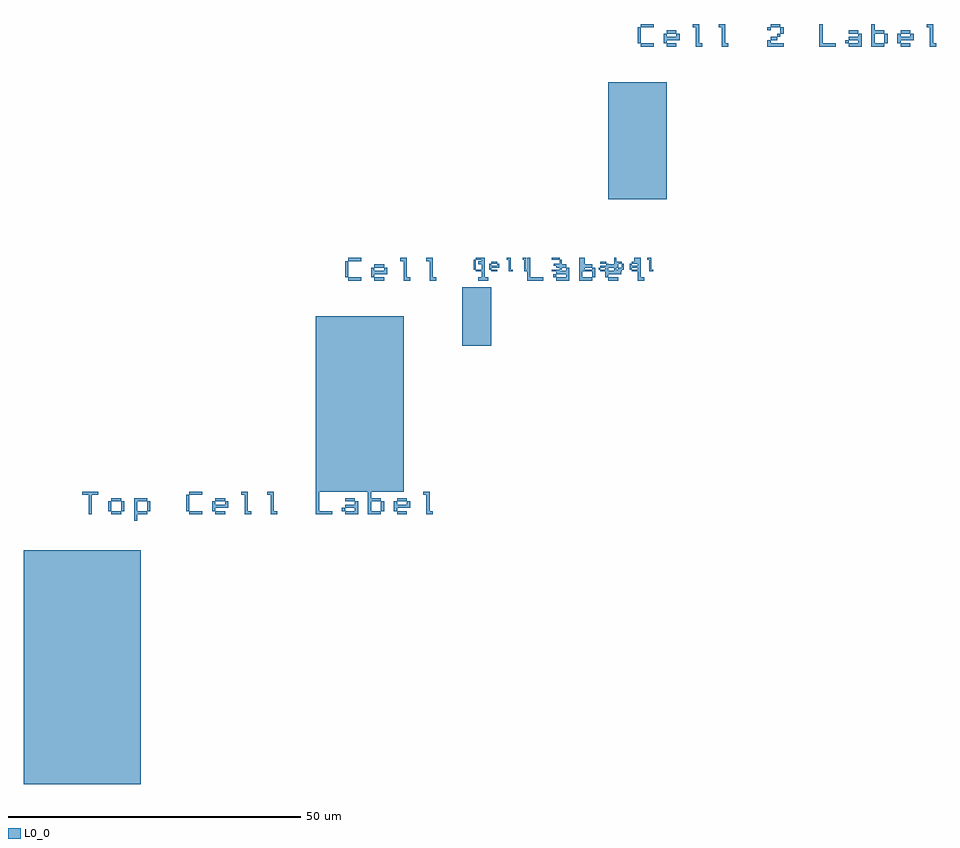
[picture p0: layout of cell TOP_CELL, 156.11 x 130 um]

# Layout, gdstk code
import gdstk
lib = gdstk.Library(unit=1e-6, precision=1e-09)
def R(c, l, rs):  # rectangles x0, y0, x1, y1
    for r in rs: c.add(gdstk.rectangle(r[:2], r[2:], *l))
def P(c, l, *ps):  # polygons
    for p in ps: c.add(gdstk.Polygon(p, *l))
L0_0 = (0, 0)

cell_3 = lib.new_cell('CELL_3')
R(cell_3, L0_0, [(0,0,5,10), (23.333,13,23.667,13.333)])
P(cell_3, L0_0, [(2,13),(2.333,13),(2.333,13.333),(2.333,13.667),(2.333,14),(2.333,14.333),(2.333,14.667),(2,14.667),(2,14.333),(2,14),(2,13.667),(2,13.333)],
  [(2.333,12.667),(2.667,12.667),(3,12.667),(3.333,12.667),(3.667,12.667),(3.667,13),(3.333,13),(3,13),(2.667,13),(2.333,13)],
  [(2.333,14.667),(2.667,14.667),(3,14.667),(3.333,14.667),(3.667,14.667),(3.667,15),(3.333,15),(3,15),(2.667,15),(2.333,15)],
  [(4.667,13),(5,13),(5,13.333),(5.333,13.333),(5.667,13.333),(6,13.333),(6.333,13.333),(6.333,13.667),(6.333,14),(6,14),(6,13.667),(5.667,13.667),(5.333,13.667),(5,13.667),(5,14),(4.667,14),(4.667,13.667),(4.667,13.333)],
  [(5,12.667),(5.333,12.667),(5.667,12.667),(6,12.667),(6,13),(5.667,13),(5.333,13),(5,13)],
  [(5,14),(5.333,14),(5.667,14),(6,14),(6,14.333),(5.667,14.333),(5.333,14.333),(5,14.333)],
  [(7.667,14.667),(8,14.667),(8,14.333),(8,14),(8,13.667),(8,13.333),(8,13),(8,12.667),(8.333,12.667),(8.667,12.667),(8.667,13),(8.333,13),(8.333,13.333),(8.333,13.667),(8.333,14),(8.333,14.333),(8.333,14.667),(8.333,15),(8,15),(7.667,15)],
  [(10.333,14.667),(10.667,14.667),(10.667,14.333),(10.667,14),(10.667,13.667),(10.667,13.333),(10.667,13),(10.667,12.667),(11,12.667),(11.333,12.667),(11.333,13),(11,13),(11,13.333),(11,13.667),(11,14),(11,14.333),(11,14.667),(11,15),(10.667,15),(10.333,15)],
  [(15.333,12.667),(15.667,12.667),(16,12.667),(16.333,12.667),(16.667,12.667),(16.667,13),(16.333,13),(16,13),(15.667,13),(15.333,13)],
  [(15.333,14.667),(15.667,14.667),(16,14.667),(16.333,14.667),(16.667,14.667),(16.667,15),(16.333,15),(16,15),(15.667,15),(15.333,15)],
  [(15.667,13.667),(16,13.667),(16.333,13.667),(16.667,13.667),(16.667,14),(16.333,14),(16,14),(15.667,14)],
  [(16.667,13),(17,13),(17,13.333),(17,13.667),(16.667,13.667),(16.667,13.333)],
  [(16.667,14),(17,14),(17,14.333),(17,14.667),(16.667,14.667),(16.667,14.333)],
  [(20.667,12.667),(21,12.667),(21.333,12.667),(21.667,12.667),(22,12.667),(22.333,12.667),(22.333,13),(22,13),(21.667,13),(21.333,13),(21,13),(21,13.333),(21,13.667),(21,14),(21,14.333),(21,14.667),(21,15),(20.667,15),(20.667,14.667),(20.667,14.333),(20.667,14),(20.667,13.667),(20.667,13.333),(20.667,13)],
  [(23.667,12.667),(24,12.667),(24.333,12.667),(24.667,12.667),(25,12.667),(25,13),(25,13.333),(25,13.667),(25,14),(24.667,14),(24.667,13.667),(24.333,13.667),(24,13.667),(23.667,13.667),(23.667,13.333),(24,13.333),(24.333,13.333),(24.667,13.333),(24.667,13),(24.333,13),(24,13),(23.667,13)],
  [(23.667,14),(24,14),(24.333,14),(24.667,14),(24.667,14.333),(24.333,14.333),(24,14.333),(23.667,14.333)],
  [(26,12.667),(26.333,12.667),(26.667,12.667),(27,12.667),(27.333,12.667),(27.333,13),(27,13),(26.667,13),(26.333,13),(26.333,13.333),(26.333,13.667),(26.333,14),(26.667,14),(27,14),(27.333,14),(27.333,14.333),(27,14.333),(26.667,14.333),(26.333,14.333),(26.333,14.667),(26.333,15),(26,15),(26,14.667),(26,14.333),(26,14),(26,13.667),(26,13.333),(26,13)],
  [(27.333,13),(27.667,13),(27.667,13.333),(27.667,13.667),(27.667,14),(27.333,14),(27.333,13.667),(27.333,13.333)],
  [(28.667,13),(29,13),(29,13.333),(29.333,13.333),(29.667,13.333),(30,13.333),(30.333,13.333),(30.333,13.667),(30.333,14),(30,14),(30,13.667),(29.667,13.667),(29.333,13.667),(29,13.667),(29,14),(28.667,14),(28.667,13.667),(28.667,13.333)],
  [(29,12.667),(29.333,12.667),(29.667,12.667),(30,12.667),(30,13),(29.667,13),(29.333,13),(29,13)],
  [(29,14),(29.333,14),(29.667,14),(30,14),(30,14.333),(29.667,14.333),(29.333,14.333),(29,14.333)],
  [(31.667,14.667),(32,14.667),(32,14.333),(32,14),(32,13.667),(32,13.333),(32,13),(32,12.667),(32.333,12.667),(32.667,12.667),(32.667,13),(32.333,13),(32.333,13.333),(32.333,13.667),(32.333,14),(32.333,14.333),(32.333,14.667),(32.333,15),(32,15),(31.667,15)])

cell_1 = lib.new_cell('CELL_1')
R(cell_1, L0_0, [(0,0,15,30), (40.556,36.667,41.111,37.222)])
P(cell_1, L0_0, [(5,36.667),(5.556,36.667),(5.556,37.222),(5.556,37.778),(5.556,38.333),(5.556,38.889),(5.556,39.444),(5,39.444),(5,38.889),(5,38.333),(5,37.778),(5,37.222)],
  [(5.556,36.111),(6.111,36.111),(6.667,36.111),(7.222,36.111),(7.778,36.111),(7.778,36.667),(7.222,36.667),(6.667,36.667),(6.111,36.667),(5.556,36.667)],
  [(5.556,39.444),(6.111,39.444),(6.667,39.444),(7.222,39.444),(7.778,39.444),(7.778,40),(7.222,40),(6.667,40),(6.111,40),(5.556,40)],
  [(9.444,36.667),(10,36.667),(10,37.222),(10.556,37.222),(11.111,37.222),(11.667,37.222),(12.222,37.222),(12.222,37.778),(12.222,38.333),(11.667,38.333),(11.667,37.778),(11.111,37.778),(10.556,37.778),(10,37.778),(10,38.333),(9.444,38.333),(9.444,37.778),(9.444,37.222)],
  [(10,36.111),(10.556,36.111),(11.111,36.111),(11.667,36.111),(11.667,36.667),(11.111,36.667),(10.556,36.667),(10,36.667)],
  [(10,38.333),(10.556,38.333),(11.111,38.333),(11.667,38.333),(11.667,38.889),(11.111,38.889),(10.556,38.889),(10,38.889)],
  [(14.444,39.444),(15,39.444),(15,38.889),(15,38.333),(15,37.778),(15,37.222),(15,36.667),(15,36.111),(15.556,36.111),(16.111,36.111),(16.111,36.667),(15.556,36.667),(15.556,37.222),(15.556,37.778),(15.556,38.333),(15.556,38.889),(15.556,39.444),(15.556,40),(15,40),(14.444,40)],
  [(18.889,39.444),(19.444,39.444),(19.444,38.889),(19.444,38.333),(19.444,37.778),(19.444,37.222),(19.444,36.667),(19.444,36.111),(20,36.111),(20.556,36.111),(20.556,36.667),(20,36.667),(20,37.222),(20,37.778),(20,38.333),(20,38.889),(20,39.444),(20,40),(19.444,40),(18.889,40)],
  [(27.778,36.111),(28.333,36.111),(28.889,36.111),(29.444,36.111),(29.444,36.667),(28.889,36.667),(28.889,37.222),(28.889,37.778),(28.889,38.333),(28.889,38.889),(28.889,39.444),(28.889,40),(28.333,40),(28.333,39.444),(27.778,39.444),(27.778,38.889),(28.333,38.889),(28.333,38.333),(28.333,37.778),(28.333,37.222),(28.333,36.667),(27.778,36.667)],
  [(36.111,36.111),(36.667,36.111),(37.222,36.111),(37.778,36.111),(38.333,36.111),(38.889,36.111),(38.889,36.667),(38.333,36.667),(37.778,36.667),(37.222,36.667),(36.667,36.667),(36.667,37.222),(36.667,37.778),(36.667,38.333),(36.667,38.889),(36.667,39.444),(36.667,40),(36.111,40),(36.111,39.444),(36.111,38.889),(36.111,38.333),(36.111,37.778),(36.111,37.222),(36.111,36.667)],
  [(41.111,36.111),(41.667,36.111),(42.222,36.111),(42.778,36.111),(43.333,36.111),(43.333,36.667),(43.333,37.222),(43.333,37.778),(43.333,38.333),(42.778,38.333),(42.778,37.778),(42.222,37.778),(41.667,37.778),(41.111,37.778),(41.111,37.222),(41.667,37.222),(42.222,37.222),(42.778,37.222),(42.778,36.667),(42.222,36.667),(41.667,36.667),(41.111,36.667)],
  [(41.111,38.333),(41.667,38.333),(42.222,38.333),(42.778,38.333),(42.778,38.889),(42.222,38.889),(41.667,38.889),(41.111,38.889)],
  [(45,36.111),(45.556,36.111),(46.111,36.111),(46.667,36.111),(47.222,36.111),(47.222,36.667),(46.667,36.667),(46.111,36.667),(45.556,36.667),(45.556,37.222),(45.556,37.778),(45.556,38.333),(46.111,38.333),(46.667,38.333),(47.222,38.333),(47.222,38.889),(46.667,38.889),(46.111,38.889),(45.556,38.889),(45.556,39.444),(45.556,40),(45,40),(45,39.444),(45,38.889),(45,38.333),(45,37.778),(45,37.222),(45,36.667)],
  [(47.222,36.667),(47.778,36.667),(47.778,37.222),(47.778,37.778),(47.778,38.333),(47.222,38.333),(47.222,37.778),(47.222,37.222)],
  [(49.444,36.667),(50,36.667),(50,37.222),(50.556,37.222),(51.111,37.222),(51.667,37.222),(52.222,37.222),(52.222,37.778),(52.222,38.333),(51.667,38.333),(51.667,37.778),(51.111,37.778),(50.556,37.778),(50,37.778),(50,38.333),(49.444,38.333),(49.444,37.778),(49.444,37.222)],
  [(50,36.111),(50.556,36.111),(51.111,36.111),(51.667,36.111),(51.667,36.667),(51.111,36.667),(50.556,36.667),(50,36.667)],
  [(50,38.333),(50.556,38.333),(51.111,38.333),(51.667,38.333),(51.667,38.889),(51.111,38.889),(50.556,38.889),(50,38.889)],
  [(54.444,39.444),(55,39.444),(55,38.889),(55,38.333),(55,37.778),(55,37.222),(55,36.667),(55,36.111),(55.556,36.111),(56.111,36.111),(56.111,36.667),(55.556,36.667),(55.556,37.222),(55.556,37.778),(55.556,38.333),(55.556,38.889),(55.556,39.444),(55.556,40),(55,40),(54.444,40)])
cell_1.add(gdstk.Reference(cell_3, (25,25)))

cell_2 = lib.new_cell('CELL_2')
R(cell_2, L0_0, [(0,0,10,20), (40.556,26.667,41.111,27.222), (28.889,27.778,29.444,28.333), (27.222,28.889,27.778,29.444)])
P(cell_2, L0_0, [(5,26.667),(5.556,26.667),(5.556,27.222),(5.556,27.778),(5.556,28.333),(5.556,28.889),(5.556,29.444),(5,29.444),(5,28.889),(5,28.333),(5,27.778),(5,27.222)],
  [(5.556,26.111),(6.111,26.111),(6.667,26.111),(7.222,26.111),(7.778,26.111),(7.778,26.667),(7.222,26.667),(6.667,26.667),(6.111,26.667),(5.556,26.667)],
  [(5.556,29.444),(6.111,29.444),(6.667,29.444),(7.222,29.444),(7.778,29.444),(7.778,30),(7.222,30),(6.667,30),(6.111,30),(5.556,30)],
  [(9.444,26.667),(10,26.667),(10,27.222),(10.556,27.222),(11.111,27.222),(11.667,27.222),(12.222,27.222),(12.222,27.778),(12.222,28.333),(11.667,28.333),(11.667,27.778),(11.111,27.778),(10.556,27.778),(10,27.778),(10,28.333),(9.444,28.333),(9.444,27.778),(9.444,27.222)],
  [(10,26.111),(10.556,26.111),(11.111,26.111),(11.667,26.111),(11.667,26.667),(11.111,26.667),(10.556,26.667),(10,26.667)],
  [(10,28.333),(10.556,28.333),(11.111,28.333),(11.667,28.333),(11.667,28.889),(11.111,28.889),(10.556,28.889),(10,28.889)],
  [(14.444,29.444),(15,29.444),(15,28.889),(15,28.333),(15,27.778),(15,27.222),(15,26.667),(15,26.111),(15.556,26.111),(16.111,26.111),(16.111,26.667),(15.556,26.667),(15.556,27.222),(15.556,27.778),(15.556,28.333),(15.556,28.889),(15.556,29.444),(15.556,30),(15,30),(14.444,30)],
  [(18.889,29.444),(19.444,29.444),(19.444,28.889),(19.444,28.333),(19.444,27.778),(19.444,27.222),(19.444,26.667),(19.444,26.111),(20,26.111),(20.556,26.111),(20.556,26.667),(20,26.667),(20,27.222),(20,27.778),(20,28.333),(20,28.889),(20,29.444),(20,30),(19.444,30),(18.889,30)],
  [(27.222,26.111),(27.778,26.111),(28.333,26.111),(28.889,26.111),(29.444,26.111),(30,26.111),(30,26.667),(29.444,26.667),(28.889,26.667),(28.333,26.667),(27.778,26.667),(27.778,27.222),(27.222,27.222),(27.222,26.667)],
  [(27.778,27.222),(28.333,27.222),(28.889,27.222),(28.889,27.778),(28.333,27.778),(27.778,27.778)],
  [(27.778,29.444),(28.333,29.444),(28.889,29.444),(29.444,29.444),(29.444,30),(28.889,30),(28.333,30),(27.778,30)],
  [(29.444,28.333),(30,28.333),(30,28.889),(30,29.444),(29.444,29.444),(29.444,28.889)],
  [(36.111,26.111),(36.667,26.111),(37.222,26.111),(37.778,26.111),(38.333,26.111),(38.889,26.111),(38.889,26.667),(38.333,26.667),(37.778,26.667),(37.222,26.667),(36.667,26.667),(36.667,27.222),(36.667,27.778),(36.667,28.333),(36.667,28.889),(36.667,29.444),(36.667,30),(36.111,30),(36.111,29.444),(36.111,28.889),(36.111,28.333),(36.111,27.778),(36.111,27.222),(36.111,26.667)],
  [(41.111,26.111),(41.667,26.111),(42.222,26.111),(42.778,26.111),(43.333,26.111),(43.333,26.667),(43.333,27.222),(43.333,27.778),(43.333,28.333),(42.778,28.333),(42.778,27.778),(42.222,27.778),(41.667,27.778),(41.111,27.778),(41.111,27.222),(41.667,27.222),(42.222,27.222),(42.778,27.222),(42.778,26.667),(42.222,26.667),(41.667,26.667),(41.111,26.667)],
  [(41.111,28.333),(41.667,28.333),(42.222,28.333),(42.778,28.333),(42.778,28.889),(42.222,28.889),(41.667,28.889),(41.111,28.889)],
  [(45,26.111),(45.556,26.111),(46.111,26.111),(46.667,26.111),(47.222,26.111),(47.222,26.667),(46.667,26.667),(46.111,26.667),(45.556,26.667),(45.556,27.222),(45.556,27.778),(45.556,28.333),(46.111,28.333),(46.667,28.333),(47.222,28.333),(47.222,28.889),(46.667,28.889),(46.111,28.889),(45.556,28.889),(45.556,29.444),(45.556,30),(45,30),(45,29.444),(45,28.889),(45,28.333),(45,27.778),(45,27.222),(45,26.667)],
  [(47.222,26.667),(47.778,26.667),(47.778,27.222),(47.778,27.778),(47.778,28.333),(47.222,28.333),(47.222,27.778),(47.222,27.222)],
  [(49.444,26.667),(50,26.667),(50,27.222),(50.556,27.222),(51.111,27.222),(51.667,27.222),(52.222,27.222),(52.222,27.778),(52.222,28.333),(51.667,28.333),(51.667,27.778),(51.111,27.778),(50.556,27.778),(50,27.778),(50,28.333),(49.444,28.333),(49.444,27.778),(49.444,27.222)],
  [(50,26.111),(50.556,26.111),(51.111,26.111),(51.667,26.111),(51.667,26.667),(51.111,26.667),(50.556,26.667),(50,26.667)],
  [(50,28.333),(50.556,28.333),(51.111,28.333),(51.667,28.333),(51.667,28.889),(51.111,28.889),(50.556,28.889),(50,28.889)],
  [(54.444,29.444),(55,29.444),(55,28.889),(55,28.333),(55,27.778),(55,27.222),(55,26.667),(55,26.111),(55.556,26.111),(56.111,26.111),(56.111,26.667),(55.556,26.667),(55.556,27.222),(55.556,27.778),(55.556,28.333),(55.556,28.889),(55.556,29.444),(55.556,30),(55,30),(54.444,30)])

top_cell = lib.new_cell('TOP_CELL')
R(top_cell, L0_0, [(0,0,20,40), (54.444,46.667,55,47.222)])
P(top_cell, L0_0, [(10,49.444),(10.556,49.444),(11.111,49.444),(11.111,48.889),(11.111,48.333),(11.111,47.778),(11.111,47.222),(11.111,46.667),(11.111,46.111),(11.667,46.111),(11.667,46.667),(11.667,47.222),(11.667,47.778),(11.667,48.333),(11.667,48.889),(11.667,49.444),(12.222,49.444),(12.778,49.444),(12.778,50),(12.222,50),(11.667,50),(11.111,50),(10.556,50),(10,50)],
  [(14.444,46.667),(15,46.667),(15,47.222),(15,47.778),(15,48.333),(14.444,48.333),(14.444,47.778),(14.444,47.222)],
  [(15,46.111),(15.556,46.111),(16.111,46.111),(16.667,46.111),(16.667,46.667),(16.111,46.667),(15.556,46.667),(15,46.667)],
  [(15,48.333),(15.556,48.333),(16.111,48.333),(16.667,48.333),(16.667,48.889),(16.111,48.889),(15.556,48.889),(15,48.889)],
  [(16.667,46.667),(17.222,46.667),(17.222,47.222),(17.222,47.778),(17.222,48.333),(16.667,48.333),(16.667,47.778),(16.667,47.222)],
  [(18.889,45),(19.444,45),(19.444,45.556),(19.444,46.111),(20,46.111),(20.556,46.111),(21.111,46.111),(21.111,46.667),(20.556,46.667),(20,46.667),(19.444,46.667),(19.444,47.222),(19.444,47.778),(19.444,48.333),(20,48.333),(20.556,48.333),(21.111,48.333),(21.111,48.889),(20.556,48.889),(20,48.889),(19.444,48.889),(18.889,48.889),(18.889,48.333),(18.889,47.778),(18.889,47.222),(18.889,46.667),(18.889,46.111),(18.889,45.556)],
  [(21.111,46.667),(21.667,46.667),(21.667,47.222),(21.667,47.778),(21.667,48.333),(21.111,48.333),(21.111,47.778),(21.111,47.222)],
  [(27.778,46.667),(28.333,46.667),(28.333,47.222),(28.333,47.778),(28.333,48.333),(28.333,48.889),(28.333,49.444),(27.778,49.444),(27.778,48.889),(27.778,48.333),(27.778,47.778),(27.778,47.222)],
  [(28.333,46.111),(28.889,46.111),(29.444,46.111),(30,46.111),(30.556,46.111),(30.556,46.667),(30,46.667),(29.444,46.667),(28.889,46.667),(28.333,46.667)],
  [(28.333,49.444),(28.889,49.444),(29.444,49.444),(30,49.444),(30.556,49.444),(30.556,50),(30,50),(29.444,50),(28.889,50),(28.333,50)],
  [(32.222,46.667),(32.778,46.667),(32.778,47.222),(33.333,47.222),(33.889,47.222),(34.444,47.222),(35,47.222),(35,47.778),(35,48.333),(34.444,48.333),(34.444,47.778),(33.889,47.778),(33.333,47.778),(32.778,47.778),(32.778,48.333),(32.222,48.333),(32.222,47.778),(32.222,47.222)],
  [(32.778,46.111),(33.333,46.111),(33.889,46.111),(34.444,46.111),(34.444,46.667),(33.889,46.667),(33.333,46.667),(32.778,46.667)],
  [(32.778,48.333),(33.333,48.333),(33.889,48.333),(34.444,48.333),(34.444,48.889),(33.889,48.889),(33.333,48.889),(32.778,48.889)],
  [(37.222,49.444),(37.778,49.444),(37.778,48.889),(37.778,48.333),(37.778,47.778),(37.778,47.222),(37.778,46.667),(37.778,46.111),(38.333,46.111),(38.889,46.111),(38.889,46.667),(38.333,46.667),(38.333,47.222),(38.333,47.778),(38.333,48.333),(38.333,48.889),(38.333,49.444),(38.333,50),(37.778,50),(37.222,50)],
  [(41.667,49.444),(42.222,49.444),(42.222,48.889),(42.222,48.333),(42.222,47.778),(42.222,47.222),(42.222,46.667),(42.222,46.111),(42.778,46.111),(43.333,46.111),(43.333,46.667),(42.778,46.667),(42.778,47.222),(42.778,47.778),(42.778,48.333),(42.778,48.889),(42.778,49.444),(42.778,50),(42.222,50),(41.667,50)],
  [(50,46.111),(50.556,46.111),(51.111,46.111),(51.667,46.111),(52.222,46.111),(52.778,46.111),(52.778,46.667),(52.222,46.667),(51.667,46.667),(51.111,46.667),(50.556,46.667),(50.556,47.222),(50.556,47.778),(50.556,48.333),(50.556,48.889),(50.556,49.444),(50.556,50),(50,50),(50,49.444),(50,48.889),(50,48.333),(50,47.778),(50,47.222),(50,46.667)],
  [(55,46.111),(55.556,46.111),(56.111,46.111),(56.667,46.111),(57.222,46.111),(57.222,46.667),(57.222,47.222),(57.222,47.778),(57.222,48.333),(56.667,48.333),(56.667,47.778),(56.111,47.778),(55.556,47.778),(55,47.778),(55,47.222),(55.556,47.222),(56.111,47.222),(56.667,47.222),(56.667,46.667),(56.111,46.667),(55.556,46.667),(55,46.667)],
  [(55,48.333),(55.556,48.333),(56.111,48.333),(56.667,48.333),(56.667,48.889),(56.111,48.889),(55.556,48.889),(55,48.889)],
  [(58.889,46.111),(59.444,46.111),(60,46.111),(60.556,46.111),(61.111,46.111),(61.111,46.667),(60.556,46.667),(60,46.667),(59.444,46.667),(59.444,47.222),(59.444,47.778),(59.444,48.333),(60,48.333),(60.556,48.333),(61.111,48.333),(61.111,48.889),(60.556,48.889),(60,48.889),(59.444,48.889),(59.444,49.444),(59.444,50),(58.889,50),(58.889,49.444),(58.889,48.889),(58.889,48.333),(58.889,47.778),(58.889,47.222),(58.889,46.667)],
  [(61.111,46.667),(61.667,46.667),(61.667,47.222),(61.667,47.778),(61.667,48.333),(61.111,48.333),(61.111,47.778),(61.111,47.222)],
  [(63.333,46.667),(63.889,46.667),(63.889,47.222),(64.444,47.222),(65,47.222),(65.556,47.222),(66.111,47.222),(66.111,47.778),(66.111,48.333),(65.556,48.333),(65.556,47.778),(65,47.778),(64.444,47.778),(63.889,47.778),(63.889,48.333),(63.333,48.333),(63.333,47.778),(63.333,47.222)],
  [(63.889,46.111),(64.444,46.111),(65,46.111),(65.556,46.111),(65.556,46.667),(65,46.667),(64.444,46.667),(63.889,46.667)],
  [(63.889,48.333),(64.444,48.333),(65,48.333),(65.556,48.333),(65.556,48.889),(65,48.889),(64.444,48.889),(63.889,48.889)],
  [(68.333,49.444),(68.889,49.444),(68.889,48.889),(68.889,48.333),(68.889,47.778),(68.889,47.222),(68.889,46.667),(68.889,46.111),(69.444,46.111),(70,46.111),(70,46.667),(69.444,46.667),(69.444,47.222),(69.444,47.778),(69.444,48.333),(69.444,48.889),(69.444,49.444),(69.444,50),(68.889,50),(68.333,50)])
top_cell.add(gdstk.Reference(cell_1, (50,50)))
top_cell.add(gdstk.Reference(cell_2, (100,100)))

lib.write_gds('TOP_CELL.gds')
